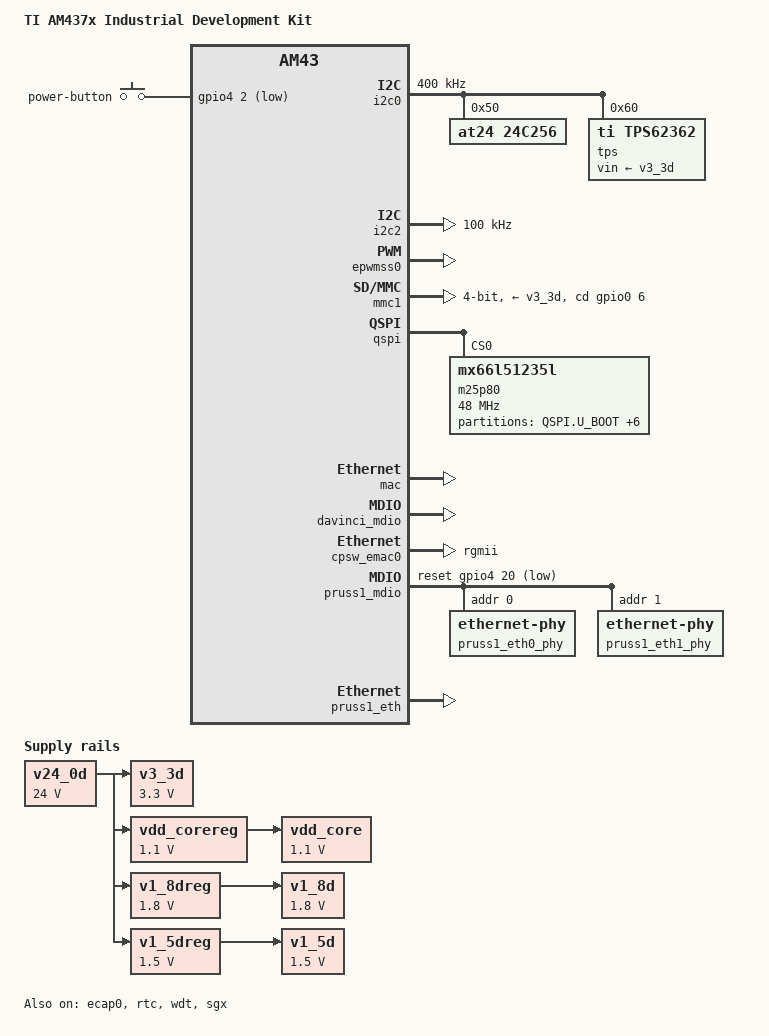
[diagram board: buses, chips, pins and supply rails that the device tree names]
/*
 * Copyright (C) 2014 Texas Instruments Incorporated - http://www.ti.com/
 *
 * This program is free software; you can redistribute it and/or modify
 * it under the terms of the GNU General Public License version 2 as
 * published by the Free Software Foundation.
 */

/dts-v1/;

#include "am4372.dtsi"
#include <dt-bindings/pinctrl/am43xx.h>
#include <dt-bindings/pwm/pwm.h>
#include <dt-bindings/gpio/gpio.h>
#include <dt-bindings/input/input.h>

/ {
	model = "TI AM437x Industrial Development Kit";
	compatible = "ti,am437x-idk-evm","ti,am4372","ti,am43";

	aliases {
		ethernet2 = &pruss1_emac0;
		ethernet3 = &pruss1_emac1;
	};

	v24_0d: fixed-regulator-v24_0d {
		compatible = "regulator-fixed";
		regulator-name = "V24_0D";
		regulator-min-microvolt = <24000000>;
		regulator-max-microvolt = <24000000>;
		regulator-always-on;
		regulator-boot-on;
	};

	v3_3d: fixed-regulator-v3_3d {
		compatible = "regulator-fixed";
		regulator-name = "V3_3D";
		regulator-min-microvolt = <3300000>;
		regulator-max-microvolt = <3300000>;
		regulator-always-on;
		regulator-boot-on;
		vin-supply = <&v24_0d>;
	};

	vdd_corereg: fixed-regulator-vdd_corereg {
		compatible = "regulator-fixed";
		regulator-name = "VDD_COREREG";
		regulator-min-microvolt = <1100000>;
		regulator-max-microvolt = <1100000>;
		regulator-always-on;
		regulator-boot-on;
		vin-supply = <&v24_0d>;
	};

	vdd_core: fixed-regulator-vdd_core {
		compatible = "regulator-fixed";
		regulator-name = "VDD_CORE";
		regulator-min-microvolt = <1100000>;
		regulator-max-microvolt = <1100000>;
		regulator-always-on;
		regulator-boot-on;
		vin-supply = <&vdd_corereg>;
	};

	v1_8dreg: fixed-regulator-v1_8dreg{
		compatible = "regulator-fixed";
		regulator-name = "V1_8DREG";
		regulator-min-microvolt = <1800000>;
		regulator-max-microvolt = <1800000>;
		regulator-always-on;
		regulator-boot-on;
		vin-supply = <&v24_0d>;
	};

	v1_8d: fixed-regulator-v1_8d{
		compatible = "regulator-fixed";
		regulator-name = "V1_8D";
		regulator-min-microvolt = <1800000>;
		regulator-max-microvolt = <1800000>;
		regulator-always-on;
		regulator-boot-on;
		vin-supply = <&v1_8dreg>;
	};

	v1_5dreg: fixed-regulator-v1_5dreg{
		compatible = "regulator-fixed";
		regulator-name = "V1_5DREG";
		regulator-min-microvolt = <1500000>;
		regulator-max-microvolt = <1500000>;
		regulator-always-on;
		regulator-boot-on;
		vin-supply = <&v24_0d>;
	};

	v1_5d: fixed-regulator-v1_5d{
		compatible = "regulator-fixed";
		regulator-name = "V1_5D";
		regulator-min-microvolt = <1500000>;
		regulator-max-microvolt = <1500000>;
		regulator-always-on;
		regulator-boot-on;
		vin-supply = <&v1_5dreg>;
	};

	gpio_keys: gpio_keys {
		compatible = "gpio-keys";
		pinctrl-names = "default";
		pinctrl-0 = <&gpio_keys_pins_default>;
		#address-cells = <1>;
		#size-cells = <0>;

		switch@0 {
			label = "power-button";
			linux,code = <KEY_POWER>;
			gpios = <&gpio4 2 GPIO_ACTIVE_LOW>;
		};
	};
};

&am43xx_pinmux {
	gpio_keys_pins_default: gpio_keys_pins_default {
		pinctrl-single,pins = <
			0x1b8 (PIN_INPUT | MUX_MODE7)	/* cam0_field.gpio4_2 */
		>;
	};

	i2c0_pins_default: i2c0_pins_default {
		pinctrl-single,pins = <
			0x188 (PIN_INPUT | SLEWCTRL_FAST | MUX_MODE0) /* i2c0_sda.i2c0_sda */
			0x18c (PIN_INPUT | SLEWCTRL_FAST | MUX_MODE0) /* i2c0_scl.i2c0_scl */
		>;
	};

	i2c0_pins_sleep: i2c0_pins_sleep {
		pinctrl-single,pins = <
			0x188 (PIN_INPUT_PULLDOWN | MUX_MODE7)
			0x18c (PIN_INPUT_PULLDOWN | MUX_MODE7)
		>;
	};

	i2c2_pins_default: i2c2_pins_default {
		pinctrl-single,pins = <
			0x1e8 (PIN_INPUT | SLEWCTRL_FAST | MUX_MODE3) /* cam1_data1.i2c2_scl */
			0x1ec (PIN_INPUT | SLEWCTRL_FAST | MUX_MODE3) /* cam1_data0.i2c2_sda */
		>;
	};

	i2c2_pins_sleep: i2c2_pins_sleep {
		pinctrl-single,pins = <
			0x1e8 (PIN_INPUT_PULLDOWN | MUX_MODE7)
			0x1ec (PIN_INPUT_PULLDOWN | MUX_MODE7)
		>;
	};

	mmc1_pins_default: pinmux_mmc1_pins_default {
		pinctrl-single,pins = <
			0x100 (PIN_INPUT | MUX_MODE0) /* mmc0_clk.mmc0_clk */
			0x104 (PIN_INPUT | MUX_MODE0) /* mmc0_cmd.mmc0_cmd */
			0x1f0 (PIN_INPUT | MUX_MODE0) /* mmc0_dat3.mmc0_dat3 */
			0x1f4 (PIN_INPUT | MUX_MODE0) /* mmc0_dat2.mmc0_dat2 */
			0x1f8 (PIN_INPUT | MUX_MODE0) /* mmc0_dat1.mmc0_dat1 */
			0x1fc (PIN_INPUT | MUX_MODE0) /* mmc0_dat0.mmc0_dat0 */
			0x160 (PIN_INPUT | MUX_MODE7) /* spi0_cs1.gpio0_6 */
		>;
	};

	mmc1_pins_sleep: pinmux_mmc1_pins_sleep {
		pinctrl-single,pins = <
			0x100 (PIN_INPUT_PULLDOWN | MUX_MODE7)
			0x104 (PIN_INPUT_PULLDOWN | MUX_MODE7)
			0x1f0 (PIN_INPUT_PULLDOWN | MUX_MODE7)
			0x1f4 (PIN_INPUT_PULLDOWN | MUX_MODE7)
			0x1f8 (PIN_INPUT_PULLDOWN | MUX_MODE7)
			0x1fc (PIN_INPUT_PULLDOWN | MUX_MODE7)
			0x160 (PIN_INPUT_PULLDOWN | MUX_MODE7)
		>;
	};

	ecap0_pins_default: backlight_pins_default {
		pinctrl-single,pins = <
			0x164 (PIN_OUTPUT | MUX_MODE0) /* ecap0_in_pwm0_out.ecap0_in_pwm0_out */
		>;
	};

	cpsw_default: cpsw_default {
		pinctrl-single,pins = <
			0x12c (PIN_OUTPUT_PULLDOWN | MUX_MODE2)	/* mii1_txclk.rgmii1_tclk */
			0x114 (PIN_OUTPUT_PULLDOWN | MUX_MODE2)	/* mii1_txen.rgmii1_tctl */
			0x128 (PIN_OUTPUT_PULLDOWN | MUX_MODE2)	/* mii1_txd0.rgmii1_td0 */
			0x124 (PIN_OUTPUT_PULLDOWN | MUX_MODE2)	/* mii1_txd1.rgmii1_td1 */
			0x120 (PIN_OUTPUT_PULLDOWN | MUX_MODE2)	/* mii1_txd0.rgmii1_td2 */
			0x11c (PIN_OUTPUT_PULLDOWN | MUX_MODE2)	/* mii1_txd1.rgmii1_td3 */
			0x130 (PIN_INPUT_PULLDOWN | MUX_MODE2)	/* mii1_rxclk.rmii1_rclk */
			0x118 (PIN_INPUT_PULLDOWN | MUX_MODE2)	/* mii1_rxdv.rgmii1_rctl */
			0x140 (PIN_INPUT_PULLDOWN | MUX_MODE2)	/* mii1_rxd0.rgmii1_rd0 */
			0x13c (PIN_INPUT_PULLDOWN | MUX_MODE2)	/* mii1_rxd1.rgmii1_rd1 */
			0x138 (PIN_INPUT_PULLDOWN | MUX_MODE2)	/* mii1_rxd0.rgmii1_rd2 */
			0x134 (PIN_INPUT_PULLDOWN | MUX_MODE2)	/* mii1_rxd1.rgmii1_rd3 */
		>;
	};

	cpsw_sleep: cpsw_sleep {
		pinctrl-single,pins = <
			0x12c (PIN_INPUT_PULLDOWN | MUX_MODE7)
			0x114 (PIN_INPUT_PULLDOWN | MUX_MODE7)
			0x128 (PIN_INPUT_PULLDOWN | MUX_MODE7)
			0x124 (PIN_INPUT_PULLDOWN | MUX_MODE7)
			0x120 (PIN_INPUT_PULLDOWN | MUX_MODE7)
			0x11c (PIN_INPUT_PULLDOWN | MUX_MODE7)
			0x130 (PIN_INPUT_PULLDOWN | MUX_MODE7)
			0x118 (PIN_INPUT_PULLDOWN | MUX_MODE7)
			0x140 (PIN_INPUT_PULLDOWN | MUX_MODE7)
			0x13c (PIN_INPUT_PULLDOWN | MUX_MODE7)
			0x138 (PIN_INPUT_PULLDOWN | MUX_MODE7)
			0x134 (PIN_INPUT_PULLDOWN | MUX_MODE7)
		>;
	};

	davinci_mdio_default: davinci_mdio_default {
		pinctrl-single,pins = <
			/* MDIO */
			0x148 (PIN_INPUT_PULLUP | SLEWCTRL_FAST | MUX_MODE0)	/* mdio_data.mdio_data */
			0x14c (PIN_OUTPUT_PULLUP | MUX_MODE0)			/* mdio_clk.mdio_clk */
		>;
	};

	davinci_mdio_sleep: davinci_mdio_sleep {
		pinctrl-single,pins = <
			/* MDIO reset value */
			0x148 (PIN_INPUT_PULLDOWN | MUX_MODE7)
			0x14c (PIN_INPUT_PULLDOWN | MUX_MODE7)
		>;
	};

	pruss1_eth_default: pruss1_eth_default {
		pinctrl-single,pins = <
			0xa0 (PIN_INPUT | MUX_MODE2)	/* dss_data0.pr1_mii_mt0_clk */
			0xb4 (PIN_OUTPUT | MUX_MODE2)	/* dss_data5.pr1_mii0_txd0 */
			0xb0 (PIN_OUTPUT | MUX_MODE2)	/* dss_data4.pr1_mii0_txd1 */
			0xac (PIN_OUTPUT | MUX_MODE2)	/* dss_data3.pr1_mii0_txd2 */
			0xa8 (PIN_OUTPUT | MUX_MODE2)	/* dss_data2.pr1_mii0_txd3 */
			0xcc (PIN_INPUT | MUX_MODE5)	/* dss_data11.pr1_mii0_rxd0 */
			0xc8 (PIN_INPUT | MUX_MODE5)	/* dss_data10.pr1_mii0_rxd1 */
			0xc4 (PIN_INPUT | MUX_MODE5)	/* dss_data9.pr1_mii0_rxd2 */
			0xc0 (PIN_INPUT | MUX_MODE5)	/* dss_data8.pr1_mii0_rxd3 */
			0xa4 (PIN_OUTPUT | MUX_MODE2)	/* dss_data1.pr1_mii0_txen */
			0xd8 (PIN_INPUT | MUX_MODE5)	/* dss_data14.pr1_mii_mr0_clk */
			0xdc (PIN_INPUT | MUX_MODE5)	/* dss_data15.pr1_mii0_rxdv */
			0xd4 (PIN_INPUT | MUX_MODE5)	/* dss_data13.pr1_mii0_rxer */
			0xd0 (PIN_INPUT | MUX_MODE5)	/* dss_data12.pr1_mii0_rxlink */
			0x240 (PIN_INPUT | MUX_MODE5)	/* gpio5_10.pr1_mii0_crs */
			0x238 (PIN_INPUT | MUX_MODE5)	/* gpio5_8.pr1_mii0_col */
			0x58 (PIN_INPUT | MUX_MODE5)	/* gpmc_a6.pr1_mii_mt1_clk */
			0x54 (PIN_OUTPUT | MUX_MODE5)	/* gpmc_a5.pr1_mii1_txd0 */
			0x50 (PIN_OUTPUT | MUX_MODE5)	/* gpmc_a4.pr1_mii1_txd1 */
			0x4c (PIN_OUTPUT | MUX_MODE5)	/* gpmc_a3.pr1_mii1_txd2 */
			0x48 (PIN_OUTPUT | MUX_MODE5)	/* gpmc_a2.pr1_mii1_txd3 */
			0x6c (PIN_INPUT | MUX_MODE5)	/* gpmc_a11.pr1_mii1_rxd0 */
			0x68 (PIN_INPUT | MUX_MODE5)	/* gpmc_a10.pr1_mii1_rxd1 */
			0x64 (PIN_INPUT | MUX_MODE5)	/* gpmc_a9.pr1_mii1_rxd2 */
			0x60 (PIN_INPUT | MUX_MODE5)	/* gpmc_a8.pr1_mii1_rxd3 */
			0x40 (PIN_OUTPUT | MUX_MODE5)	/* gpmc_a0.pr1_mii1_txen */
			0x5c (PIN_INPUT | MUX_MODE5)	/* gpmc_a7.pr1_mii_mr1_clk */
			0x44 (PIN_INPUT | MUX_MODE5)	/* gpmc_a1.pr1_mii1_rxdv */
			0x74 (PIN_INPUT | MUX_MODE5)	/* gpmc_wpn.pr1_mii1_rxer */
			0x24c (PIN_INPUT | MUX_MODE5)	/* gpio5_13.pr1_mii1_rxlink */
			0x244 (PIN_INPUT | MUX_MODE5)	/* gpio5_11.pr1_mii1_crs */
			0x78 (PIN_INPUT | MUX_MODE5)	/* gpmc_be1n.pr1_mii1_col */
		>;
	};

	pruss1_mdio_default: pruss1_mdio_default {
		pinctrl-single,pins = <
			0x8c ( PIN_OUTPUT | MUX_MODE5 )		/* gpmc_clk.pr1_mdio_mdclk */
			0x270 ( PIN_INPUT | MUX_MODE8 )		/* xdma_event_intr0.pr1_mdio_data */
			0x200 ( PIN_INPUT_PULLUP | MUX_MODE7 )	/* cam1_data6.gpio4_20 */
		>;
	};

	qspi_pins_default: qspi_pins_default {
		pinctrl-single,pins = <
			0x7c (PIN_OUTPUT_PULLUP | MUX_MODE3)	/* gpmc_csn0.qspi_csn */
			0x88 (PIN_OUTPUT | MUX_MODE2)		/* gpmc_csn3.qspi_clk */
			0x90 (PIN_INPUT_PULLUP | MUX_MODE3)	/* gpmc_advn_ale.qspi_d0 */
			0x94 (PIN_INPUT_PULLUP | MUX_MODE3)	/* gpmc_oen_ren.qspi_d1 */
			0x98 (PIN_INPUT_PULLUP | MUX_MODE3)	/* gpmc_wen.qspi_d2 */
			0x9c (PIN_INPUT_PULLUP | MUX_MODE3)	/* gpmc_be0n_cle.qspi_d3 */
		>;
	};

	qspi_pins_sleep: qspi_pins_sleep{
		pinctrl-single,pins = <
			0x7c (PIN_INPUT_PULLDOWN | MUX_MODE7)
			0x88 (PIN_INPUT_PULLDOWN | MUX_MODE7)
			0x90 (PIN_INPUT_PULLDOWN | MUX_MODE7)
			0x94 (PIN_INPUT_PULLDOWN | MUX_MODE7)
			0x98 (PIN_INPUT_PULLDOWN | MUX_MODE7)
			0x9c (PIN_INPUT_PULLDOWN | MUX_MODE7)
		>;
	};
};

&i2c0 {
	status = "okay";
	pinctrl-names = "default", "sleep";
	pinctrl-0 = <&i2c0_pins_default>;
	pinctrl-1 = <&i2c0_pins_sleep>;
	clock-frequency = <400000>;

	at24@50 {
		compatible = "at24,24c256";
		pagesize = <64>;
		reg = <0x50>;
	};

	tps: tps62362@60 {
		compatible = "ti,tps62362";
		reg = <0x60>;
		regulator-name = "VDD_MPU";
		regulator-min-microvolt = <950000>;
		regulator-max-microvolt = <1330000>;
		regulator-boot-on;
		regulator-always-on;
		ti,vsel0-state-high;
		ti,vsel1-state-high;
		vin-supply = <&v3_3d>;
	};
};

&i2c2 {
	status = "okay";
	pinctrl-names = "default", "sleep";
	pinctrl-0 = <&i2c2_pins_default>;
	pinctrl-1 = <&i2c2_pins_sleep>;
	clock-frequency = <100000>;
};

&epwmss0 {
	status = "okay";
};

&ecap0 {
	status = "okay";
	pinctrl-names = "default";
	pinctrl-0 = <&ecap0_pins_default>;
};

&gpio0 {
	status = "okay";
};

&gpio1 {
	status = "okay";
};

&gpio4 {
	status = "okay";
};

&gpio5 {
	status = "okay";
};

&mmc1 {
	status = "okay";
	pinctrl-names = "default", "sleep";
	pinctrl-0 = <&mmc1_pins_default>;
	pinctrl-1 = <&mmc1_pins_sleep>;
	vmmc-supply = <&v3_3d>;
	bus-width = <4>;
	cd-gpios = <&gpio0 6 GPIO_ACTIVE_HIGH>;
};

&qspi {
	status = "okay";
	pinctrl-names = "default", "sleep";
	pinctrl-0 = <&qspi_pins_default>;
	pinctrl-1 = <&qspi_pins_sleep>;

	spi-max-frequency = <48000000>;
	m25p80@0 {
		compatible = "mx66l51235l";
		spi-max-frequency = <48000000>;
		reg = <0>;
		spi-cpol;
		spi-cpha;
		spi-tx-bus-width = <1>;
		spi-rx-bus-width = <4>;
		#address-cells = <1>;
		#size-cells = <1>;

		/*
		 * MTD partition table.  The ROM checks the first 512KiB for a
		 * valid file to boot(XIP).
		 */
		partition@0 {
			label = "QSPI.U_BOOT";
			reg = <0x00000000 0x000080000>;
		};
		partition@1 {
			label = "QSPI.U_BOOT.backup";
			reg = <0x00080000 0x00080000>;
		};
		partition@2 {
			label = "QSPI.U-BOOT-SPL_OS";
			reg = <0x00100000 0x00010000>;
		};
		partition@3 {
			label = "QSPI.U_BOOT_ENV";
			reg = <0x00110000 0x00010000>;
		};
		partition@4 {
			label = "QSPI.U-BOOT-ENV.backup";
			reg = <0x00120000 0x00010000>;
		};
		partition@5 {
			label = "QSPI.KERNEL";
			reg = <0x00130000 0x0800000>;
		};
		partition@6 {
			label = "QSPI.FILESYSTEM";
			reg = <0x00930000 0x36D0000>;
		};
	};
};

&mac {
	pinctrl-names = "default", "sleep";
	pinctrl-0 = <&cpsw_default>;
	pinctrl-1 = <&cpsw_sleep>;
	status = "okay";
};

&davinci_mdio {
	pinctrl-names = "default", "sleep";
	pinctrl-0 = <&davinci_mdio_default>;
	pinctrl-1 = <&davinci_mdio_sleep>;
	status = "okay";
};

&cpsw_emac0 {
	phy_id = <&davinci_mdio>, <0>;
	phy-mode = "rgmii";
};

&rtc {
	status = "okay";
	ext-clk-src;
};

&wdt {
	status = "okay";
};

&cpu {
	cpu0-supply = <&tps>;
	ti,opp-disable-exception = <300000>;
};

&sgx {
	status = "okay";
};

&pruss1 {
	pruss1_mdio: mdio@54432400 {
		pinctrl-0 = <&pruss1_mdio_default>;
		pinctrl-names = "default";
		reset-gpios = <&gpio4 20 GPIO_ACTIVE_LOW>;
		status = "okay";

		pruss1_eth0_phy: ethernet-phy@0 {
			reg = <0>;
		};

		pruss1_eth1_phy: ethernet-phy@1 {
			reg = <1>;
		};
	};

	/* Dual mac ethernet application node on icss1 */
	pruss1_eth {
		compatible = "ti,am4372-prueth";
		pruss = <&pruss1>;
		sram = <&ocmcram_nocache>;

		pinctrl-0 = <&pruss1_eth_default>;
		pinctrl-names = "default";

		pruss1_emac0: ethernet-mii0 {
			phy-handle = <&pruss1_eth0_phy>;
			phy-mode = "mii";
			sysevent-rx = <20>;	/* PRU_ARM_EVENT0 */
			/* Filled in by bootloader */
			local-mac-address = [00 00 00 00 00 00];
		};

		pruss1_emac1: ethernet-mii1 {
			phy-handle = <&pruss1_eth1_phy>;
			phy-mode = "mii";
			sysevent-rx = <21>;	/* PRU_ARM_EVENT1 */
			/* Filled in by bootloader */
			local-mac-address = [00 00 00 00 00 00];
		};
	};
};
